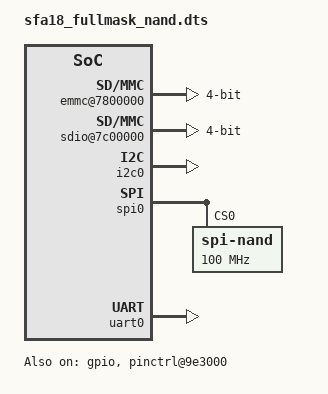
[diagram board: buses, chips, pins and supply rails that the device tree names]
/dts-v1/;

/memreserve/ 0x00000000 0x00001000;	/* Exception vectors */
/memreserve/ 0x000f0000 0x00010000;	/* PIIX4 ISA memory */

/ {
	#address-cells = <1>;
	#size-cells = <1>;
	compatible = "sf,sfa18";

	chosen {
		stdout-path = &uart0;
		tick-timer = &timer0;
	};

	aliases {
		spi0 = &spi0;
		i2c0 = &i2c0;
	};

	palmbus@b0000000 {
		compatible = "simple-bus";
		reg = <0xb0000000 0x10000000>;
		#address-cells = <1>;
		#size-cells = <1>;
		ranges = <0x0 0xb0000000 0xfffffff>;

		u-boot,dm-pre-reloc;

		gdma@1800000{
			compatible = "gdma";
			reg = <0x1800000 0x100>;
		};

		emmc@7800000{
			compatible = "siflower,sfax8-mmc";

			reg = <0x7800000 0x20000>;

			clock-freq-min-max = <400000 5000000>;
			freq = <100000000>;
			fifo-depth = <0x200>;
			bus-width = <4>;
			fifo-mode;
			non-removalbe;
		};

		sdio@7c00000{
			compatible = "siflower,sfax8-mmc";

			reg = <0x7c00000 0x20000>;
			
			clock-freq-min-max = <400000 5000000>;
			freq = <75000000>;
			fifo-depth = <0x200>;
			bus-width = <4>;
			fifo-mode;
			non-removalbe;
			u-boot,dm-pre-reloc;
		};

		i2c0: i2c@8100000 {
			#address-cells = <1>;
			#size-cells = <1>;
			compatible = "siflower,sfax8-i2c";
			reg = <0x8100000 0x1000>;
			clocks = <198000000>;
			#status = "disabled";

		};

		spi0: spi@8200000 {
			#address-cells = <1>;
			#size-cells = <0>;
			compatible = "siflower,armada-a18-spi";
			reg = <0x8200000 0x1000>;
			reg-shift = <0>;
			clock = <198000000>;
			spi-max-frequency = <33000000>;
			cs0-gpios = <&gpio 5 1>;
			u-boot,dm-pre-reloc;

			spi-nand@0 {
				compatible = "spi-nand";
				reg = <0>;
				spi-max-frequency = <100000000>;
				u-boot,dm-pre-reloc;
			};
		};

		uart0: serial@8300000 {
			compatible = "mips,sfax8";
			u-boot,dm-pre-reloc;

			reg = <0x8300000 0x1000>;
			reg-shift = <0>;

			clock = <108000000>;
			skip_init = <0>;
		};

		timer0: timer0@8600000{
			compatible = "siflower,timer0";
			clock-frequency=<198000000>;
			reg = <0x8600000 0x1000>;
		};


		gpio:gpio@9d0000 {
			compatible = "siflower,sfax8-gpio";
			reg = <0x9d00000 0x100000>, /* gpio base*/
				  <0x9e30000 0x100000>;/* pad base */
			reg-names = "gpio_base","pad_base";

			ranges = <0 0x9e30000 0x100000>;
			gpio-controller;
			#gpio-cells = <2>;
			#address-cells = <1>;
			#size-cells = <1>;
			status = "okay";
			u-boot,dm-pre-reloc;
		};

		pinctrl@9e3000 {
			compatible = "siflower,sfa18-pinctrl";
			reg = <0x9d00000 0x100000>, /* gpio base*/
				  <0x9e30000 0x100000>;/* pad base */
			reg-names = "gpio_base","pad_base";
			ranges = <0 0x9e30000 0x100000>;
			#address-cells = <1>;
			#size-cells = <1>;
			status = "okay";
			u-boot,dm-pre-reloc;
		};
	};
};

